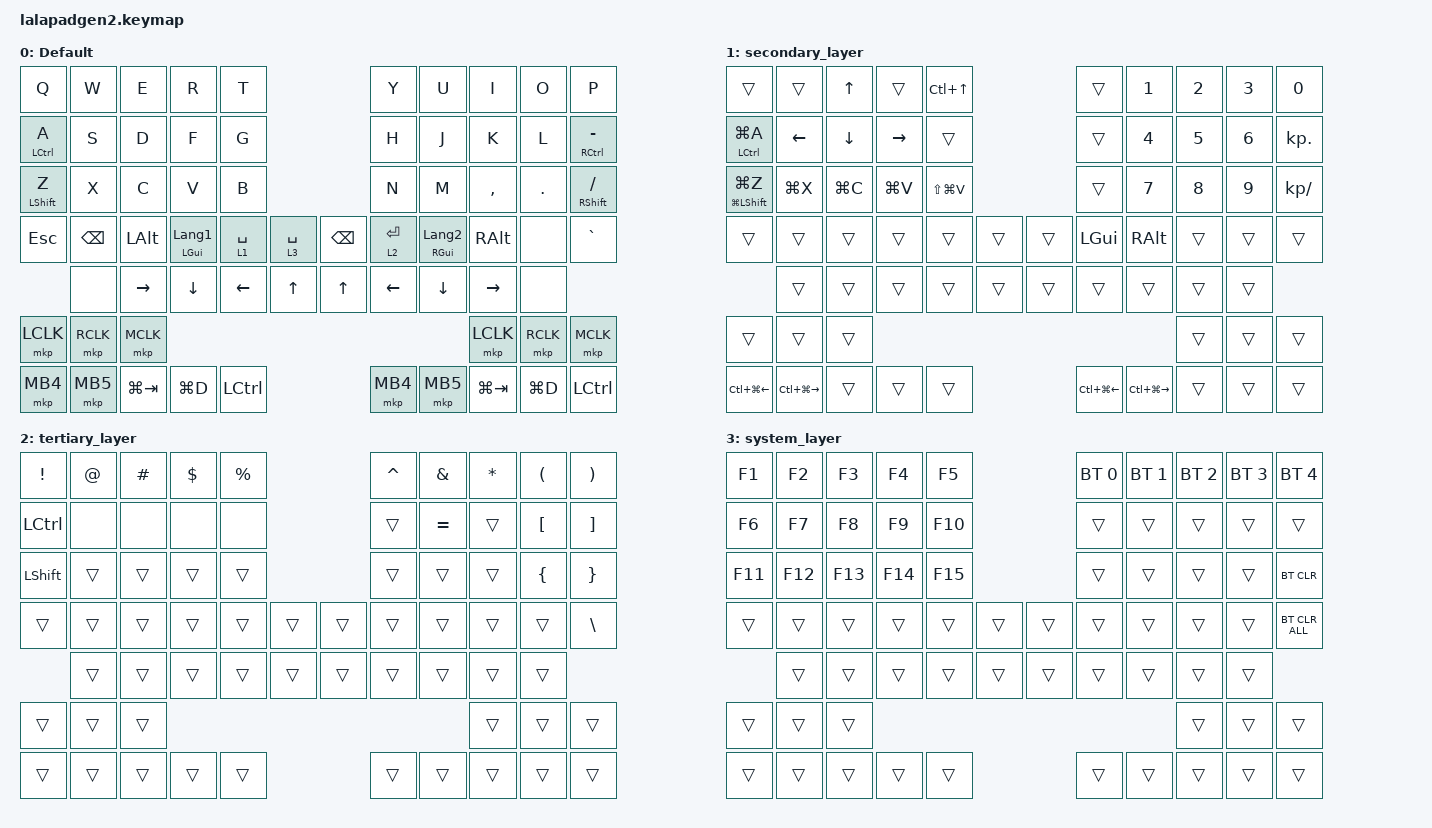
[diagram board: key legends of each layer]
#include <input/processors.dtsi>
#include <dt-bindings/zmk/zip_dynamic_scale.h>
#include <behaviors.dtsi>
#include <dt-bindings/zmk/bt.h>
#include <dt-bindings/zmk/keys.h>
#include <dt-bindings/zmk/pointing.h>

#define DEFAULT_LAYER   0
#define SECONDARY_LAYER 1
#define TERTIARY_LAYER  2
#define SYSTEM_LAYER    3

&mt { 
    flavor = "balanced";
    quick-tap-ms = <0>;
};

&lt { quick-tap-ms = <0>; };

/ {
    behaviors {
        zip_dyn_scale: zip_dyn_scale {
            compatible = "zmk,behavior-zip-dynamic-scale";
            #binding-cells = <2>;
        };

        zip_dyn_scale_set: zip_dyn_scale_set {
            compatible = "zmk,behavior-zip-dynamic-scale-set";
            #binding-cells = <2>;
        };

        mt2: mod_tap2 {
            compatible = "zmk,behavior-hold-tap";
            #binding-cells = <2>;
            flavor = "tap-preferred";
            tapping-term-ms = <200>;
            quick-tap-ms = <200>;
            require-prior-idle-ms = <125>;
            bindings = <&kp>, <&kp>;
        };

        tap_dance_layer_1and2: tap_dance_layer_1and2 {
            compatible = "zmk,behavior-tap-dance";
            label = "td_mo12";
            #binding-cells = <0>;
            bindings = <&mo 1>, <&mo 2>;
        };
    };

    combos {
        compatible = "zmk,combos";

        shift_tab {
            bindings = <&kp LS(TAB)>;
            key-positions = <12 13>;
        };

        COMBO_TAB {
            bindings = <&kp TAB>;
            key-positions = <11 12>;
        };

        semi_colon {
            bindings = <&kp SEMICOLON>;
            key-positions = <17 18>;
        };

        sqt {
            bindings = <&kp SQT>;
            key-positions = <18 19>;
        };

        dqt {
            bindings = <&kp DOUBLE_QUOTES>;
            key-positions = <20 18 19>;
        };

        colon {
            bindings = <&kp COLON>;
            key-positions = <20 17 18>;
        };

        left_click {
            bindings = <&mkp LCLK>;
            key-positions = <7 16>;
        };

        right_click {
            bindings = <&mkp RCLK>;
            key-positions = <7 18>;
        };

        mouse_scroll {
            bindings = <&msc MOVE_Y(5)>;
            key-positions = <7 17>;
        };
    };

    keymap {
        compatible = "zmk,keymap";

        DEFAULT_LAYER {
            display-name = "Default";
            bindings = <
&kp Q               &kp W          &kp E         &kp R                    &kp T                                    &kp Y        &kp U                     &kp I          &kp O       &kp P
&mt LEFT_CONTROL A  &kp S          &kp D         &kp F                    &kp G                                    &kp H        &kp J                     &kp K          &kp L       &mt RIGHT_CONTROL MINUS
&mt2 LEFT_SHIFT Z   &kp X          &kp C         &kp V                    &kp B                                    &kp N        &kp M                     &kp COMMA      &kp PERIOD  &mt RIGHT_SHIFT SLASH
&kp ESCAPE          &kp BACKSPACE  &kp LEFT_ALT  &mt LEFT_GUI LANGUAGE_1  &lt 1 SPACE  &lt 3 SPACE  &kp BACKSPACE  &lt 2 ENTER  &mt RIGHT_GUI LANGUAGE_2  &kp RIGHT_ALT  &none       &kp GRAVE
                    &none          &kp RIGHT     &kp DOWN                 &kp LEFT     &kp UP       &kp UP         &kp LEFT     &kp DOWN                  &kp RIGHT      &none
&mkp LCLK           &mkp RCLK      &mkp MCLK                                                                                                              &mkp LCLK      &mkp RCLK   &mkp MCLK
&mkp MB4            &mkp MB5       &kp LG(TAB)   &kp LG(D)                &kp LCTRL                                &mkp MB4     &mkp MB5                  &kp LG(TAB)    &kp LG(D)   &kp LCTRL
            >;
        };

        SECONDARY_LAYER {
            display-name = "secondary_layer";
            bindings = <
&trans                    &trans             &kp UP_ARROW  &trans     &kp LC(UP_ARROW)                  &trans            &kp NUMBER_1       &kp NUMBER_2  &kp NUMBER_3  &kp NUMBER_0
&mt LEFT_CONTROL LG(A)    &kp LEFT           &kp DOWN      &kp RIGHT  &trans                            &trans            &kp NUMBER_4       &kp NUMBER_5  &kp NUMBER_6  &kp KP_DOT
&mt LG(LEFT_SHIFT) LG(Z)  &kp LG(X)          &kp LG(C)     &kp LG(V)  &kp LS(LG(V))                     &trans            &kp NUMBER_7       &kp NUMBER_8  &kp NUMBER_9  &kp KP_SLASH
&trans                    &trans             &trans        &trans     &trans            &trans  &trans  &kp LEFT_GUI      &kp RIGHT_ALT      &trans        &trans        &trans
                          &trans             &trans        &trans     &trans            &trans  &trans  &trans            &trans             &trans        &trans
&trans                    &trans             &trans                                                                                          &trans        &trans        &trans
&kp LC(LG(LEFT))          &kp LC(LG(RIGHT))  &trans        &trans     &trans                            &kp LC(LG(LEFT))  &kp LC(LG(RIGHT))  &trans        &trans        &trans
            >;
        };

        TERTIARY_LAYER {
            display-name = "tertiary_layer";
            bindings = <
&kp EXCLAMATION   &kp AT_SIGN  &kp HASH  &kp DOLLAR  &kp PERCENT                  &kp CARET  &kp AMPERSAND  &kp ASTERISK  &kp LEFT_PARENTHESIS  &kp RIGHT_PARENTHESIS
&kp LEFT_CONTROL  &none        &none     &none       &none                        &trans     &kp EQUAL      &trans        &kp LEFT_BRACKET      &kp RIGHT_BRACKET
&kp LEFT_SHIFT    &trans       &trans    &trans      &trans                       &trans     &trans         &trans        &kp LEFT_BRACE        &kp RIGHT_BRACE
&trans            &trans       &trans    &trans      &trans       &trans  &trans  &trans     &trans         &trans        &trans                &kp BACKSLASH
                  &trans       &trans    &trans      &trans       &trans  &trans  &trans     &trans         &trans        &trans
&trans            &trans       &trans                                                                       &trans        &trans                &trans
&trans            &trans       &trans    &trans      &trans                       &trans     &trans         &trans        &trans                &trans
            >;
        };

        SYSTEM_LAYER {
            display-name = "system_layer";
            bindings = <
&kp F1   &kp F2   &kp F3   &kp F4   &kp F5                   &bt BT_SEL 0  &bt BT_SEL 1  &bt BT_SEL 2  &bt BT_SEL 3  &bt BT_SEL 4
&kp F6   &kp F7   &kp F8   &kp F9   &kp F10                  &trans        &trans        &trans        &trans        &trans
&kp F11  &kp F12  &kp F13  &kp F14  &kp F15                  &trans        &trans        &trans        &trans        &bt BT_CLR
&trans   &trans   &trans   &trans   &trans   &trans  &trans  &trans        &trans        &trans        &trans        &bt BT_CLR_ALL
         &trans   &trans   &trans   &trans   &trans  &trans  &trans        &trans        &trans        &trans
&trans   &trans   &trans                                                                 &trans        &trans        &trans
&trans   &trans   &trans   &trans   &trans                   &trans        &trans        &trans        &trans        &trans
            >;
        };
    };

    conditional_layers {
        compatible = "zmk,conditional-layers";

        Cond_Syslayer {
            if-layers = <1 2>;
            then-layer = <3>;
        };
    };
};
